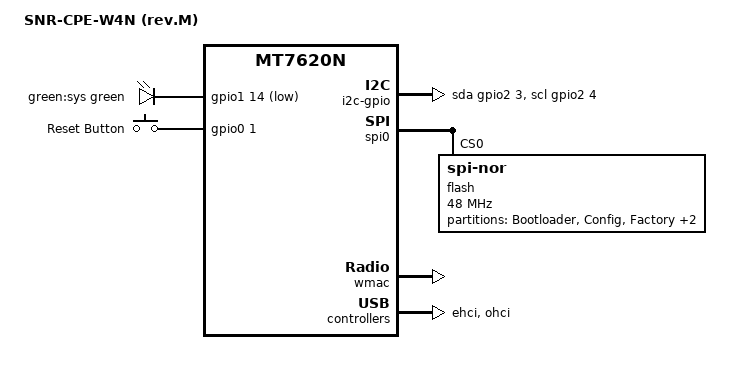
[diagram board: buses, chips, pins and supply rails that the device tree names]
// SPDX-License-Identifier: GPL-2.0-or-later OR MIT

#include "mt7620n.dtsi"

#include <dt-bindings/gpio/gpio.h>
#include <dt-bindings/input/input.h>
#include <dt-bindings/leds/common.h>

/ {
	compatible = "snr,cpe-w4n-mt", "ralink,mt7620n-soc";
	model = "SNR-CPE-W4N (rev.M)";

	aliases {
		led-boot = &led_sys;
		led-failsafe = &led_sys;
		led-running = &led_sys;
		led-upgrade = &led_sys;
	};

	leds {
		compatible = "gpio-leds";

		led_sys: sys {
			label = "green:sys";
			color = <LED_COLOR_ID_GREEN>;
			function = LED_FUNCTION_STATUS;
			gpios = <&gpio1 14 GPIO_ACTIVE_LOW>; // GPIO#38
			panic-indicator;
		};

	};

	keys {
		compatible = "gpio-keys";

		reset {
			label = "Reset Button";
			gpios = <&gpio0 1 GPIO_ACTIVE_HIGH>; // GPIO#1
			linux,code = <KEY_RESTART>;
		};
	};
	
	i2c-gpio {
		compatible = "i2c-gpio";
		gpios = <&gpio2 3 GPIO_ACTIVE_HIGH &gpio2 4 GPIO_ACTIVE_HIGH>;
		i2c-gpio,delay-us = <10>;
	};
};

&gpio0 {
	status = "okay";
};

&gpio1 {
	status = "okay";
};

&gpio2 {
	status = "okay";
};

&gpio3 {
	status = "okay";
};

&spi0 {
	status = "okay";

	flash@0 {
		compatible = "jedec,spi-nor";
		reg = <0>;
		spi-max-frequency = <48000000>;

		partitions {
			compatible = "fixed-partitions";
			#address-cells = <1>;
			#size-cells = <1>;

			partition@0 {
				label = "Bootloader";
				reg = <0x0 0x30000>;
				read-only;
			};

			partition@30000 {
				label = "Config";
				reg = <0x30000 0x10000>;
			};

			factory: partition@40000 {
				label = "Factory";
				reg = <0x40000 0x100000>;
				read-only;
			};

			partition@50000 {
				compatible = "denx,uimage";
				label = "firmware";
				reg = <0x50000 0x7b0000>;
			};

			partition@30000_1 {
				label = "uboot-env";
				reg = <0x30000 0x1000>;
			};
		};
	};
};

&state_default {
	gpio {
		groups = "i2c", "wdt", "pa", "spi refclk", "wled", "ephy";
		function = "gpio";
	};
};

&ethernet {
	nvmem-cells = <&macaddr_factory_4>;
	nvmem-cell-names = "mac-address";

	mediatek,portmap = "wllll";
};

&wmac {
	ralink,mtd-eeprom = <&factory 0x0>;
};

&ehci {
	status = "okay";
};

&ohci {
	status = "okay";
};

&factory {
	compatible = "nvmem-cells";
	#address-cells = <1>;
	#size-cells = <1>;

	macaddr_factory_4: macaddr@4 {
		reg = <0x4 0x6>;
	};
};
